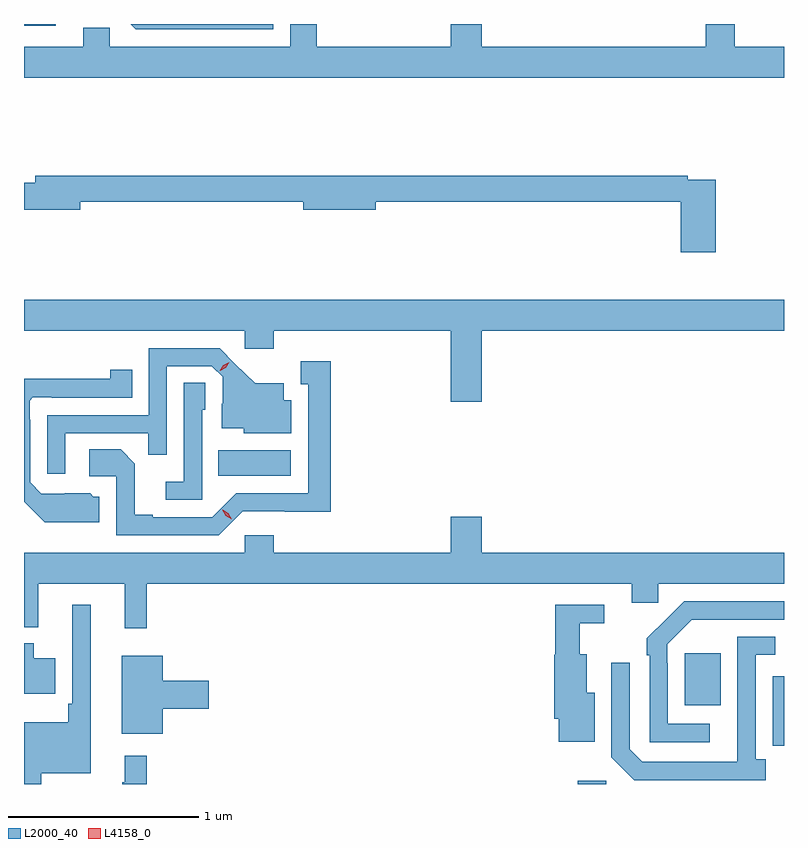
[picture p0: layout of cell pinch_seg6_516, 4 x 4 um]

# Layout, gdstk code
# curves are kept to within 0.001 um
import gdstk
lib = gdstk.Library(unit=1e-6, precision=1e-09)
def R(c, l, rs):  # rectangles x0, y0, x1, y1
    for r in rs: c.add(gdstk.rectangle(r[:2], r[2:], *l))
def P(c, l, *ps):  # polygons
    for p in ps: c.add(gdstk.Polygon(p, *l))
L2000_40 = (2000, 40)
L4158_0 = (4158, 0)

pinch_seg6_516 = lib.new_cell('pinch_seg6_516')
R(pinch_seg6_516, L2000_40, [(777.065,946.283,777.216,946.3), (777.629,946.697,777.817,946.972), (775.174,947.906,775.555,948.04), (774.151,950.274,774.319,950.283)])
P(pinch_seg6_516, L2000_40, [(775.464,950.283),(774.713,950.283),(774.74,950.256),(775.464,950.256)],
  [(778.151,950.164),(777.893,950.164),(777.893,950.283),(777.74,950.283),(777.74,950.164),(776.56,950.164),(776.56,950.283),(776.396,950.283),(776.396,950.164),(775.693,950.164),(775.693,950.283),(775.553,950.283),(775.553,950.164),(774.603,950.164),(774.603,950.262),(774.464,950.262),(774.464,950.164),(774.151,950.164),(774.151,950),(778.151,950)],
  [(777.791,949.464),(777.644,949.464),(777.644,949.484),(774.209,949.484),(774.209,949.448),(774.151,949.448),(774.151,949.306),(774.448,949.306),(774.448,949.348),(775.622,949.348),(775.622,949.306),(776.002,949.306),(776.002,949.348),(777.608,949.348),(777.608,949.083),(777.791,949.083)],
  [(776.56,948.668),(778.151,948.668),(778.151,948.832),(774.151,948.832),(774.151,948.668),(775.314,948.668),(775.314,948.573),(775.466,948.573),(775.466,948.668),(776.396,948.668),(776.396,948.294),(776.56,948.294)],
  [(774.369,948.129),(774.805,948.129),(774.805,948.016),(774.903,948.016),(774.903,948.483),(775.14,948.483),(775.197,948.426),(775.197,948.284),(775.193,948.284),(775.193,948.155),(775.308,948.155),(775.308,948.128),(775.558,948.128),(775.558,948.304),(775.519,948.304),(775.519,948.391),(775.367,948.391),(775.18,948.576),(774.807,948.576),(774.807,948.225),(774.273,948.225),(774.273,947.916),(774.369,947.916)],
  [(775.302,947.718),(775.765,947.717),(775.765,948.508),(775.607,948.508),(775.607,948.387),(775.646,948.387),(775.646,947.814),(775.269,947.814),(775.143,947.688),(774.829,947.688),(774.829,947.701),(774.735,947.701),(774.735,947.968),(774.659,948.044),(774.495,948.044),(774.495,947.904),(774.636,947.904),(774.636,947.592),(775.176,947.592)],
  [(774.547,947.796),(774.516,947.796),(774.5,947.812),(774.243,947.811),(774.183,947.871),(774.183,948.2),(774.18,948.2),(774.18,948.3),(774.198,948.318),(774.298,948.318),(774.298,948.315),(774.722,948.315),(774.722,948.463),(774.604,948.463),(774.604,948.416),(774.151,948.415),(774.151,947.769),(774.259,947.66),(774.547,947.66)],
  [(775.089,948.252),(775.104,948.252),(775.104,948.395),(774.993,948.395),(774.993,947.875),(774.897,947.875),(774.897,947.778),(775.089,947.778)],
  [(774.797,947.336),(777.35,947.336),(777.35,947.238),(777.489,947.238),(777.489,947.336),(778.151,947.336),(778.151,947.5),(776.56,947.5),(776.56,947.689),(776.396,947.689),(776.396,947.5),(775.466,947.5),(775.466,947.593),(775.314,947.593),(775.314,947.5),(774.151,947.5),(774.151,947.108),(774.227,947.108),(774.227,947.336),(774.68,947.336),(774.68,947.103),(774.797,947.103)],
  [(777.76,946.599),(777.54,946.599),(777.54,946.919),(777.537,946.919),(777.537,947.019),(777.666,947.148),(778.151,947.148),(778.151,947.244),(777.626,947.244),(777.429,947.049),(777.429,946.961),(777.444,946.961),(777.444,946.503),(777.76,946.503)],
  [(774.241,946.34),(774.502,946.34),(774.502,947.227),(774.405,947.227),(774.405,946.705),(774.385,946.705),(774.385,946.609),(774.151,946.609),(774.151,946.283),(774.241,946.283)],
  [(777.154,946.762),(777.112,946.762),(777.112,946.966),(777.076,946.966),(777.076,947.129),(777.205,947.129),(777.205,947.226),(776.947,947.226),(776.947,946.962),(776.942,946.962),(776.942,946.626),(776.966,946.626),(776.966,946.505),(777.154,946.505)],
  [(778.054,946.414),(778.002,946.414),(778.002,946.962),(778.105,946.962),(778.105,947.058),(777.906,947.058),(777.905,946.401),(777.405,946.401),(777.339,946.467),(777.339,946.921),(777.243,946.921),(777.243,946.425),(777.364,946.304),(778.054,946.304)],
  [(774.316,946.945),(774.202,946.945),(774.202,947.023),(774.151,947.023),(774.151,946.757),(774.316,946.757)],
  [(774.88,946.679),(775.123,946.679),(775.123,946.826),(774.88,946.826),(774.88,946.957),(774.665,946.957),(774.665,946.547),(774.88,946.547)],
  [(778.151,946.849),(778.092,946.849),(778.092,946.594),(778.093,946.594),(778.093,946.485),(778.151,946.485)],
  [(774.797,946.432),(774.68,946.432),(774.68,946.292),(774.669,946.292),(774.669,946.283),(774.797,946.283)])
P(pinch_seg6_516, L4158_0, [(775.182,948.457),(775.182,948.457),(775.199,948.487),(775.23,948.503),(775.23,948.503),(775.23,948.502),(775.213,948.473),(775.183,948.457)],
  [(775.245,947.676),(775.213,947.694),(775.195,947.727),(775.195,947.727),(775.196,947.727),(775.227,947.708),(775.245,947.676),(775.245,947.676)])

lib.write_gds('pinch_seg6_516.gds')
